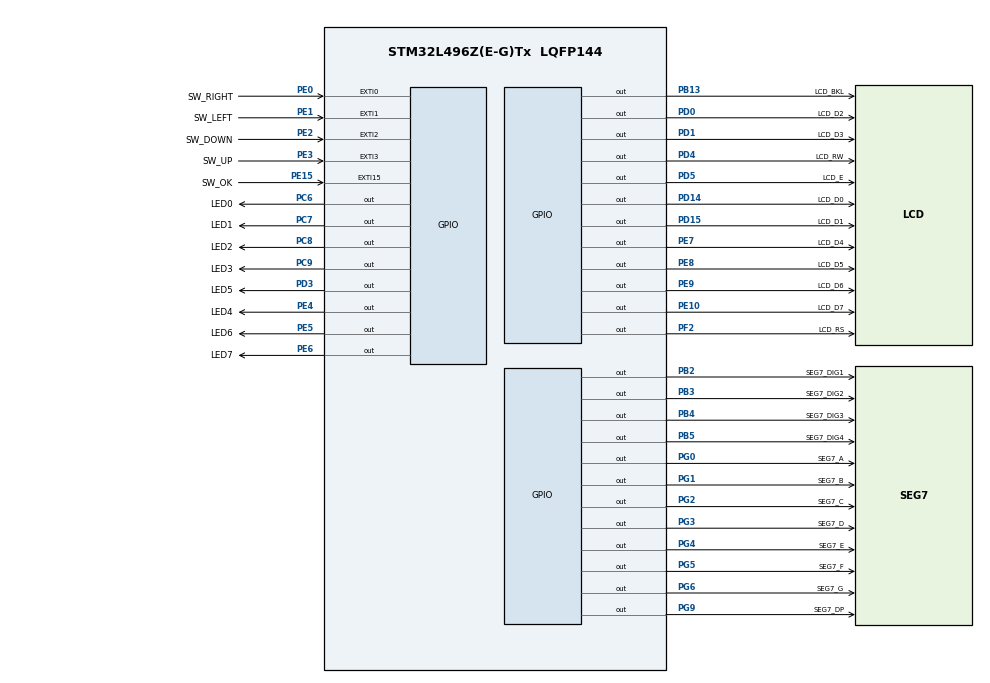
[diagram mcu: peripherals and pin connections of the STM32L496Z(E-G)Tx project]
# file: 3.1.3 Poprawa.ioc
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Mcu.Family=STM32L4
Mcu.Name=STM32L496Z(E-G)Tx
Mcu.Package=LQFP144
NVIC.EXTI0_IRQn=true\:0\:0\:false\:false\:true\:true\:true
NVIC.EXTI15_10_IRQn=true\:0\:0\:false\:false\:true\:true\:true
NVIC.EXTI1_IRQn=true\:0\:0\:false\:false\:true\:true\:true
NVIC.EXTI2_IRQn=true\:0\:0\:false\:false\:true\:true\:true
NVIC.EXTI3_IRQn=true\:0\:0\:false\:false\:true\:true\:true
NVIC.PriorityGroup=NVIC_PRIORITYGROUP_4
PA13\ (JTMS/SWDIO).Mode=Serial_Wire
PA13\ (JTMS/SWDIO).Signal=SYS_JTMS-SWDIO
PA14\ (JTCK/SWCLK).Mode=Serial_Wire
PA14\ (JTCK/SWCLK).Signal=SYS_JTCK-SWCLK
PB13.GPIO_Label=LCD_BKL
PB13.Signal=GPIO_Output
PB2.GPIO_Label=SEG7_DIG1
PB2.Signal=GPIO_Output
PB3\ (JTDO/TRACESWO).GPIO_Label=SEG7_DIG2
PB3\ (JTDO/TRACESWO).Signal=GPIO_Output
PB4\ (NJTRST).GPIO_Label=SEG7_DIG3
PB4\ (NJTRST).Signal=GPIO_Output
PB5.GPIO_Label=SEG7_DIG4
PB5.Signal=GPIO_Output
PC6.GPIO_Label=LED0
PC6.Signal=GPIO_Output
PC7.GPIO_Label=LED1
PC7.Signal=GPIO_Output
PC8.GPIO_Label=LED2
PC8.Signal=GPIO_Output
PC9.GPIO_Label=LED3
PC9.Signal=GPIO_Output
PD0.GPIO_Label=LCD_D2
PD0.Signal=GPIO_Output
PD1.GPIO_Label=LCD_D3
PD1.Signal=GPIO_Output
PD14.GPIO_Label=LCD_D0
PD14.Signal=GPIO_Output
PD15.GPIO_Label=LCD_D1
PD15.Signal=GPIO_Output
PD3.GPIO_Label=LED5
PD3.Signal=GPIO_Output
PD4.GPIO_Label=LCD_RW
PD4.Signal=GPIO_Output
PD5.GPIO_Label=LCD_E
PD5.Signal=GPIO_Output
PE0.GPIO_Label=SW_RIGHT
PE0.GPIO_ModeDefaultEXTI=GPIO_MODE_IT_FALLING
PE0.Signal=GPXTI0
PE1.GPIO_Label=SW_LEFT
PE1.GPIO_ModeDefaultEXTI=GPIO_MODE_IT_FALLING
PE1.Signal=GPXTI1
PE10.GPIO_Label=LCD_D7
PE10.Signal=GPIO_Output
PE15.GPIO_Label=SW_OK
PE15.GPIO_ModeDefaultEXTI=GPIO_MODE_IT_FALLING
PE15.Signal=GPXTI15
PE2.GPIO_Label=SW_DOWN
PE2.GPIO_ModeDefaultEXTI=GPIO_MODE_IT_FALLING
PE2.Signal=GPXTI2
PE3.GPIO_Label=SW_UP
PE3.GPIO_ModeDefaultEXTI=GPIO_MODE_IT_FALLING
PE3.Signal=GPXTI3
PE4.GPIO_Label=LED4
PE4.Signal=GPIO_Output
PE5.GPIO_Label=LED6
PE5.Signal=GPIO_Output
PE6.GPIO_Label=LED7
PE6.Signal=GPIO_Output
PE7.GPIO_Label=LCD_D4
PE7.Signal=GPIO_Output
PE8.GPIO_Label=LCD_D5
PE8.Signal=GPIO_Output
PE9.GPIO_Label=LCD_D6
PE9.Signal=GPIO_Output
PF2.GPIO_Label=LCD_RS
PF2.Signal=GPIO_Output
PG0.GPIO_Label=SEG7_A
PG0.Signal=GPIO_Output
PG1.GPIO_Label=SEG7_B
PG1.Signal=GPIO_Output
PG2.GPIO_Label=SEG7_C
PG2.Signal=GPIO_Output
PG3.GPIO_Label=SEG7_D
PG3.Signal=GPIO_Output
PG4.GPIO_Label=SEG7_E
PG4.Signal=GPIO_Output
PG5.GPIO_Label=SEG7_F
PG5.Signal=GPIO_Output
PG6.GPIO_Label=SEG7_G
PG6.Signal=GPIO_Output
PG9.GPIO_Label=SEG7_DP
PG9.Signal=GPIO_Output
ProjectManager.HeapSize=0x200
ProjectManager.StackSize=0x400
ProjectManager.TargetToolchain=STM32CubeIDE
RCC.HSE_VALUE=8000000
RCC.HSI48_VALUE=48000000
RCC.HSI_VALUE=16000000
RCC.LSE_VALUE=32768
RCC.MSI_VALUE=4000000
RCC.VCOOutputFreq_Value=32000000
board=custom

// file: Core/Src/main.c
/* USER CODE BEGIN Header */
/**
 ******************************************************************************
 * @file           : main.c
 * @brief          : Main program body
 ******************************************************************************
 * @attention
 *
 * <h2><center>&copy; Copyright (c) 2021 STMicroelectronics.
 * All rights reserved.</center></h2>
 *
 * This software component is licensed by ST under BSD 3-Clause license,
 * the "License"; You may not use this file except in compliance with the
 * License. You may obtain a copy of the License at:
 *                        opensource.org/licenses/BSD-3-Clause
 *
 ******************************************************************************
 */
/* USER CODE END Header */
#include "main.h"
#include "gpio.h"

/* USER CODE BEGIN Includes */
#include "lcd.h"
#include <stdio.h>
#include <string.h>
/* USER CODE END Includes */

/* USER CODE BEGIN PD */
#define SEG7_Msk (SEG7_A_Pin | SEG7_B_Pin | SEG7_C_Pin | SEG7_D_Pin | SEG7_E_Pin | SEG7_F_Pin | SEG7_G_Pin | SEG7_DP_Pin)
#define SEG7_MOD_Msk (SEG7_DIG4_Pin | SEG7_DIG3_Pin | SEG7_DIG2_Pin | SEG7_DIG1_Pin)
#define SEG7_SIGN	(SEG7_G_Pin)
/* USER CODE END PD */

/* USER CODE BEGIN PV */
const uint8_t SEG_Bin2Dec[] = {
		SEG7_A_Pin | SEG7_B_Pin | SEG7_C_Pin | SEG7_D_Pin | SEG7_E_Pin | SEG7_F_Pin,// 0
		SEG7_B_Pin | SEG7_C_Pin,	// 1
		SEG7_A_Pin | SEG7_B_Pin | SEG7_D_Pin | SEG7_E_Pin | SEG7_G_Pin,	// 2
		SEG7_A_Pin | SEG7_B_Pin | SEG7_C_Pin | SEG7_D_Pin | SEG7_G_Pin,	// 3
		SEG7_B_Pin | SEG7_C_Pin | SEG7_F_Pin | SEG7_G_Pin,	// 4
		SEG7_A_Pin | SEG7_C_Pin | SEG7_D_Pin | SEG7_F_Pin | SEG7_G_Pin,	// 5
		SEG7_A_Pin | SEG7_C_Pin | SEG7_D_Pin | SEG7_E_Pin | SEG7_F_Pin	| SEG7_G_Pin,	// 6
		SEG7_A_Pin | SEG7_B_Pin | SEG7_C_Pin,	// 7
		SEG7_A_Pin | SEG7_B_Pin | SEG7_C_Pin | SEG7_D_Pin | SEG7_E_Pin	| SEG7_F_Pin | SEG7_G_Pin,	// 8
		SEG7_A_Pin | SEG7_B_Pin | SEG7_C_Pin | SEG7_D_Pin | SEG7_F_Pin	| SEG7_G_Pin,	// 9
		SEG7_A_Pin | SEG7_B_Pin | SEG7_C_Pin | SEG7_E_Pin | SEG7_F_Pin  | SEG7_G_Pin,  // A
		SEG7_C_Pin | SEG7_D_Pin | SEG7_E_Pin | SEG7_F_Pin | SEG7_G_Pin,  // b
		SEG7_D_Pin | SEG7_E_Pin | SEG7_G_Pin,  // c
		SEG7_B_Pin | SEG7_C_Pin | SEG7_D_Pin | SEG7_E_Pin | SEG7_G_Pin,  // d
		SEG7_A_Pin | SEG7_D_Pin | SEG7_E_Pin | SEG7_F_Pin | SEG7_G_Pin,  // E
		SEG7_A_Pin | SEG7_E_Pin | SEG7_F_Pin | SEG7_G_Pin,				 // F

};

const uint16_t SEG7_Module[] = { SEG7_DIG4_Pin, SEG7_DIG3_Pin, SEG7_DIG2_Pin, SEG7_DIG1_Pin };
/* USER CODE END PV */

void SystemClock_Config(void);

/* USER CODE BEGIN 0 */
void SEG_SetSegment(uint16_t value) {
	value &= SEG7_Msk;
	HAL_GPIO_WritePin(GPIOG, SEG7_Msk, GPIO_PIN_RESET);
	HAL_GPIO_WritePin(GPIOG, value, GPIO_PIN_SET);
}

void SEG_SetModule(uint8_t module) {
	module &= 0x03;
	HAL_GPIO_WritePin(GPIOB, SEG7_MOD_Msk, GPIO_PIN_RESET);
	HAL_GPIO_WritePin(GPIOB, SEG7_Module[module], GPIO_PIN_SET);
}

#define SEG_RefreshPeriodMs (2)

uint8_t SEG_Value[] = { 0, 0, 0, 0 };

void SEG_Mux(void) {
	static uint32_t module = 0;

	if (SEG_Value[3] == 0 && SEG_Value[2] == 0 && SEG_Value[1] == 0)
		module = 0;
	else if (SEG_Value[3] == 0 && SEG_Value[2] == 0) {
		module %= 2;

	} else if (SEG_Value[3] == 0) {
		module %= 3;

	}

	SEG_SetSegment(SEG_Value[module]);
	SEG_SetModule(module++);

	module &= 0x03;
}

void HAL_SYSTICK_Callback(void) {
	static uint16_t SEG_Delay = 0;
	if ((++SEG_Delay) == SEG_RefreshPeriodMs) {
		SEG_Mux();
		SEG_Delay = 0;
	}
}

void SEG_Callback(void) {
	static uint16_t SEG_Delay = 0;
	static uint32_t module = 0;
	if ((++SEG_Delay) == SEG_RefreshPeriodMs) {
		HAL_GPIO_WritePin(GPIOB, SEG7_MOD_Msk, GPIO_PIN_RESET);
		HAL_GPIO_WritePin(GPIOG, SEG7_Msk, GPIO_PIN_RESET);
		HAL_GPIO_WritePin(GPIOG, SEG_Value[module], GPIO_PIN_SET);
		HAL_GPIO_WritePin(GPIOB, SEG7_Module[module++], GPIO_PIN_SET);
		SEG_Delay = 0;
		module &= 0x03;
	}
}

void SEG_DisplayDec(int16_t value) {
	if ((value >= 0) && (value < 10000)) {
		SEG_Value[0] = (SEG_Bin2Dec[value % 10]);
		value /= 10;
		SEG_Value[1] = (value) ? (SEG_Bin2Dec[value % 10]) : 0;
		value /= 10;
		SEG_Value[2] = (value) ? (SEG_Bin2Dec[value % 10]) : 0;
		value /= 10;
		SEG_Value[3] = (value) ? (SEG_Bin2Dec[value % 10]) : 0;
	} else if ((value < 0) && (value > -1000)) {
		value = -value;
		SEG_Value[0] = (SEG_Bin2Dec[value % 10]);
		value /= 10;
		if (value != 0) {
			SEG_Value[1] = (SEG_Bin2Dec[value % 10]);
			value /= 10;
			if (value != 0) {
				SEG_Value[2] = (SEG_Bin2Dec[value % 10]);
				SEG_Value[3] = SEG7_G_Pin;
			} else {
				SEG_Value[2] = SEG7_G_Pin;
				SEG_Value[3] = 0;
			}
		} else {
			SEG_Value[1] = SEG7_G_Pin;
			SEG_Value[2] = 0;
			SEG_Value[3] = 0;
		}
	}
}

void SEG_DisplayFixedPoint(int16_t value, uint8_t fraction_digits) {
	if ((value >= 0) && (value < 10000)) {
		if ((fraction_digits > 0) && (fraction_digits < 4)) {
			SEG_Value[0] = SEG_Bin2Dec[value % 10];
			value /= 10;
			SEG_Value[1] =
					(value) ?
							SEG_Bin2Dec[value % 10] :
							((fraction_digits >= 1) ? SEG_Bin2Dec[0] : 0);
			value /= 10;
			SEG_Value[2] =
					(value) ?
							SEG_Bin2Dec[value % 10] :
							((fraction_digits >= 2) ? SEG_Bin2Dec[0] : 0);
			value /= 10;
			SEG_Value[3] =
					(value) ?
							SEG_Bin2Dec[value % 10] :
							((fraction_digits == 3) ? SEG_Bin2Dec[0] : 0);
		}
	} else if ((value < 0) && (value > -1000)) {
		if ((fraction_digits > 0) && (fraction_digits < 3)) {
			value = -value;
			SEG_Value[0] = SEG_Bin2Dec[value % 10];
			value /= 10;
			if (value) {
				SEG_Value[1] = SEG_Bin2Dec[value % 10];
				value /= 10;
				SEG_Value[2] =
						(value) ?
								SEG_Bin2Dec[value % 10] :
								((fraction_digits == 1) ?
										SEG7_G_Pin : SEG_Bin2Dec[0]);
				SEG_Value[3] = (fraction_digits == 2) ? SEG7_G_Pin : 0;

			} else {
				SEG_Value[1] = SEG_Bin2Dec[0];
				SEG_Value[2] =
						(fraction_digits == 1) ? SEG7_G_Pin : SEG_Bin2Dec[0];
				SEG_Value[3] = (fraction_digits == 2) ? SEG7_G_Pin : 0;
			}
		}
	}
	SEG_Value[fraction_digits] |= SEG7_DP_Pin;
}

/* USER CODE END 0 */

int main(void)
{

  /* MCU Configuration--------------------------------------------------------*/

  /* Reset of all peripherals, Initializes the Flash interface and the Systick. */
  HAL_Init();

  /* Configure the system clock */
  SystemClock_Config();

  /* Initialize all configured peripherals */
  MX_GPIO_Init();
  /* USER CODE BEGIN 2 */
	LCD_Init();
	LCD_BacklightOn();
  /* USER CODE END 2 */

  /* Infinite loop */
  /* USER CODE BEGIN WHILE */

	while (1) {
	//	SEG_SetModule(0);
	//	for (int i = 0; i < 200; i++) {
			//if (i < 0) { //ustawiamy wartosc znaku w zaleznosci od tego czy mamy liczbe dodatnia czy ujemna

		//SEG_DisplayDec(-10);
		SEG_DisplayFixedPoint(2,1);

				//SEG_DisplayFixedPoint(2,2);
				//HAL_Delay(20);
		//	} else{
			//	SEG_DisplayFixedPoint(20,2);
			//	HAL_Delay(10);

    /* USER CODE END WHILE */

}
}

void SystemClock_Config(void)
{
  RCC_OscInitTypeDef RCC_OscInitStruct = {0};
  RCC_ClkInitTypeDef RCC_ClkInitStruct = {0};

  /** Configure the main internal regulator output voltage
  */
  if (HAL_PWREx_ControlVoltageScaling(PWR_REGULATOR_VOLTAGE_SCALE1) != HAL_OK)
  {
    Error_Handler();
  }
  /** Initializes the RCC Oscillators according to the specified parameters
  * in the RCC_OscInitTypeDef structure.
  */
  RCC_OscInitStruct.OscillatorType = RCC_OSCILLATORTYPE_MSI;
  RCC_OscInitStruct.MSIState = RCC_MSI_ON;
  RCC_OscInitStruct.MSICalibrationValue = 0;
  RCC_OscInitStruct.MSIClockRange = RCC_MSIRANGE_6;
  RCC_OscInitStruct.PLL.PLLState = RCC_PLL_NONE;
  if (HAL_RCC_OscConfig(&RCC_OscInitStruct) != HAL_OK)
  {
    Error_Handler();
  }
  /** Initializes the CPU, AHB and APB buses clocks
  */
  RCC_ClkInitStruct.ClockType = RCC_CLOCKTYPE_HCLK|RCC_CLOCKTYPE_SYSCLK
                              |RCC_CLOCKTYPE_PCLK1|RCC_CLOCKTYPE_PCLK2;
  RCC_ClkInitStruct.SYSCLKSource = RCC_SYSCLKSOURCE_MSI;
  RCC_ClkInitStruct.AHBCLKDivider = RCC_SYSCLK_DIV1;
  RCC_ClkInitStruct.APB1CLKDivider = RCC_HCLK_DIV1;
  RCC_ClkInitStruct.APB2CLKDivider = RCC_HCLK_DIV1;

  if (HAL_RCC_ClockConfig(&RCC_ClkInitStruct, FLASH_LATENCY_0) != HAL_OK)
  {
    Error_Handler();
  }
}

void Error_Handler(void)
{
	__disable_irq();
	while (1) {
	}
}
